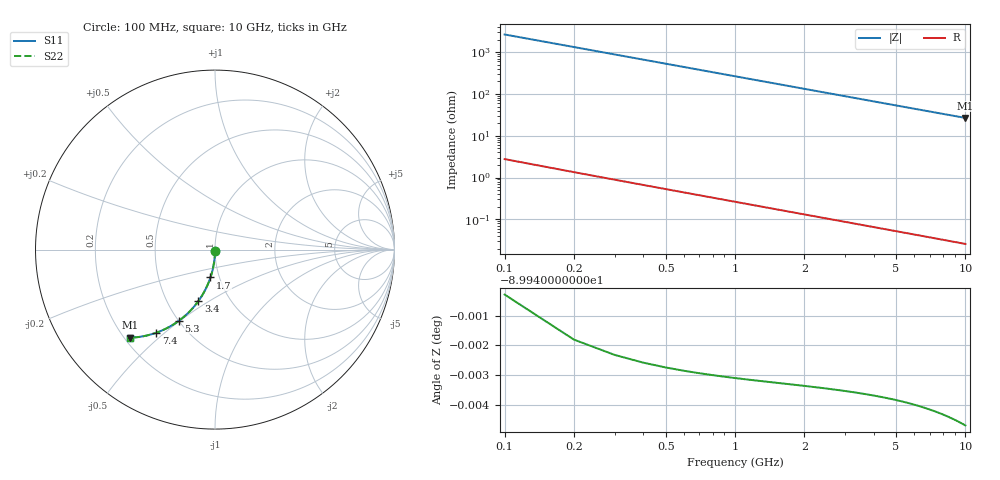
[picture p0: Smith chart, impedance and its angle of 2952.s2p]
# Hz S RI R 50.00
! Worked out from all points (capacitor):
!   100 points, 100 MHz to 10 GHz, reference 50 ohm
!   read as one part in shunt: C = 601 fF near 100 MHz
!   lowest |Z| = 26.7 ohm at 10 GHz (marker M1)
!   S11 on the Smith chart (normalised r, x): 100 MHz: 1.00, -0.02; 1.7 GHz: 0.91, -0.29; 3.4 GHz: 0.71, -0.45; 5.3 GHz: 0.50, -0.50; 7.4 GHz: 0.34, -0.47; 10 GHz: 0.22, -0.41
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1e8  -6.93e-05 -0.00937  0.9999 -0.00952  0.9999 -0.00952  -6.93e-05 -0.00937
2e8  -0.000346 -0.0187  0.9996 -0.019  0.9996 -0.019  -0.000346 -0.0187
3e8  -0.0008 -0.0281  0.9991 -0.0285  0.9991 -0.0285  -0.0008 -0.0281
4e8  -0.00143 -0.0374  0.9985 -0.038  0.9985 -0.038  -0.00143 -0.0374
5e8  -0.00224 -0.0467  0.9977 -0.0475  0.9977 -0.0475  -0.00224 -0.0467
6e8  -0.00323 -0.056  0.9967 -0.0569  0.9967 -0.0569  -0.00323 -0.056
8e8  -0.00572 -0.0745  0.9942 -0.0757  0.9942 -0.0757  -0.00572 -0.0745
1.1e9  -0.0107 -0.1019  0.9892 -0.1036  0.9892 -0.1036  -0.0107 -0.1019
1.4e9  -0.0173 -0.1288  0.9827 -0.1309  0.9827 -0.1309  -0.0173 -0.1288
1.7e9  -0.0252 -0.1551  0.9747 -0.1577  0.9747 -0.1577  -0.0252 -0.1551
1.8e9  -0.0282 -0.1638  0.9717 -0.1665  0.9717 -0.1665  -0.0282 -0.1638
2.1e9  -0.038 -0.1891  0.962 -0.1923  0.962 -0.1923  -0.038 -0.1891
2.5e9  -0.0529 -0.2216  0.947 -0.2253  0.947 -0.2253  -0.0529 -0.2216
2.9e9  -0.0699 -0.2524  0.93 -0.2567  0.93 -0.2567  -0.0699 -0.2524
3.4e9  -0.0936 -0.2882  0.9064 -0.2934  0.9064 -0.2934  -0.0936 -0.2882
4.2e9  -0.136 -0.3392  0.8639 -0.3455  0.8639 -0.3455  -0.136 -0.3392
5.1e9  -0.1883 -0.3866  0.8116 -0.3943  0.8116 -0.3943  -0.1883 -0.3866
5.3e9  -0.2003 -0.3957  0.7996 -0.4038  0.7996 -0.4038  -0.2003 -0.3957
6.7e9  -0.2857 -0.4462  0.7142 -0.4564  0.7142 -0.4564  -0.2857 -0.4462
7.4e9  -0.3278 -0.4633  0.6721 -0.4746  0.6721 -0.4746  -0.3278 -0.4633
8.4e9  -0.3858 -0.4799  0.614 -0.4927  0.614 -0.4927  -0.3858 -0.4799
1e10  -0.4709 -0.491  0.5289 -0.5063  0.5289 -0.5063  -0.4709 -0.491
